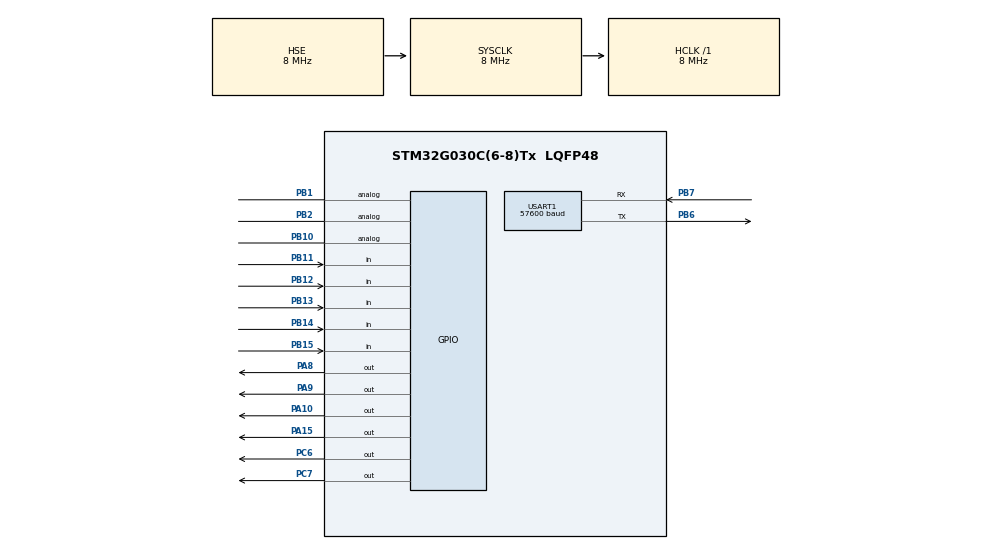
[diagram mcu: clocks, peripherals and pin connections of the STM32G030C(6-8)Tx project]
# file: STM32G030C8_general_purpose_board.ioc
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IWDG.Prescaler=IWDG_PRESCALER_32
IWDG.Reload=999
Mcu.Family=STM32G0
Mcu.Name=STM32G030C(6-8)Tx
Mcu.Package=LQFP48
NVIC.USART1_IRQn=true\:0\:0\:false\:false\:true\:true\:true\:true
PA10.GPIO_PuPd=GPIO_PULLDOWN
PA10.Signal=GPIO_Output
PA13.Mode=Serial_Wire
PA13.Signal=SYS_SWDIO
PA14-BOOT0.Mode=Serial_Wire
PA14-BOOT0.Signal=SYS_SWCLK
PA15.Signal=GPIO_Output
PA8.GPIO_ModeDefaultOutputPP=GPIO_MODE_OUTPUT_PP
PA8.GPIO_PuPd=GPIO_PULLDOWN
PA8.Signal=GPIO_Output
PA9.GPIO_PuPd=GPIO_PULLDOWN
PA9.Signal=GPIO_Output
PB1.Signal=GPIO_Analog
PB10.Signal=GPIO_Analog
PB11.Signal=GPIO_Input
PB12.Signal=GPIO_Input
PB13.Signal=GPIO_Input
PB14.Signal=GPIO_Input
PB15.Signal=GPIO_Input
PB2.Signal=GPIO_Analog
PB6.Mode=Asynchronous
PB6.Signal=USART1_TX
PB7.GPIO_PuPd=GPIO_PULLUP
PB7.Mode=Asynchronous
PB7.Signal=USART1_RX
PC6.GPIO_PuPd=GPIO_PULLDOWN
PC6.Signal=GPIO_Output
PC7.GPIO_PuPd=GPIO_PULLDOWN
PC7.Signal=GPIO_Output
PF0-OSC_IN\ (PF0).Mode=HSE-External-Oscillator
PF0-OSC_IN\ (PF0).Signal=RCC_OSC_IN
PF1-OSC_OUT\ (PF1).Mode=HSE-External-Oscillator
PF1-OSC_OUT\ (PF1).Signal=RCC_OSC_OUT
ProjectManager.HeapSize=0x0
ProjectManager.StackSize=0x400
ProjectManager.TargetToolchain=STM32CubeIDE
RCC.ADCFreq_Value=8000000
RCC.AHBFreq_Value=8000000
RCC.CortexFreq_Value=8000000
RCC.EXTERNAL_CLOCK_VALUE=12288000
RCC.HCLKFreq_Value=8000000
RCC.HSE_VALUE=8000000
RCC.HSI_VALUE=16000000
RCC.LSE_VALUE=32768
RCC.PLLN=12
RCC.PLLSourceVirtual=RCC_PLLSOURCE_HSE
RCC.SYSCLKFreq_VALUE=8000000
RCC.SYSCLKSource=RCC_SYSCLKSOURCE_HSE
RCC.VCOOutputFreq_Value=96000000
TIM14.Prescaler=7
USART1.AutoBaudRateEnableParam=UART_ADVFEATURE_AUTOBAUDRATE_DISABLE
USART1.BaudRate=57600
USART1.VirtualMode-Asynchronous=VM_ASYNC
VP_IWDG_VS_IWDG.Mode=IWDG_Activate
VP_TIM14_VS_ClockSourceINT.Mode=Enable_Timer
board=custom

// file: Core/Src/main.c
/* USER CODE BEGIN Header */
/**
  ******************************************************************************
  * @file           : main.c
  * @brief          : Main program body
  ******************************************************************************
  * @attention
  *
  * Copyright (c) 2026 STMicroelectronics.
  * All rights reserved.
  *
  * This software is licensed under terms that can be found in the LICENSE file
  * in the root directory of this software component.
  * If no LICENSE file comes with this software, it is provided AS-IS.
  *
  ******************************************************************************
  */
/* USER CODE END Header */
#include "main.h"
#include "iwdg.h"
#include "tim.h"
#include "usart.h"
#include "gpio.h"

/* USER CODE BEGIN Includes */

#include "board_gpio.h"
#include "time_utils.h"
#include "soft_timer.h"
#include "inputs_monitor.h"
#include "main_sm.h"

/* USER CODE END Includes */

/* USER CODE BEGIN PD */
#define STATUS_LED_ON_PERIOD_MS     (75)
#define STATUS_LED_OFF_PERIOD_MS    (3000)
/* USER CODE END PD */

void SystemClock_Config(void);
/* USER CODE BEGIN PFP */
static void status_led_blink(void);
void event_handler(event_type_t evt, void *ptr_data, int32_t int_data);
/* USER CODE END PFP */

int main(void)
{

  /* MCU Configuration--------------------------------------------------------*/

  /* Reset of all peripherals, Initializes the Flash interface and the Systick. */
  HAL_Init();

  /* Configure the system clock */
  SystemClock_Config();

  /* Initialize all configured peripherals */
  MX_GPIO_Init();
  MX_USART1_UART_Init();
  MX_IWDG_Init();
  MX_TIM14_Init();
  /* USER CODE BEGIN 2 */
  HAL_IWDG_Refresh(&hiwdg);

  board_gpio_write_do(DO0, false);
  board_gpio_write_do(DO1, false);
  board_gpio_write_do(DO2, false);
  board_gpio_write_do(DO3, false);
  board_gpio_write_do(DO4, false);
  board_gpio_write(STATUS_LED, false);

  time_utils_init();
  inputs_monitor_init();
  main_sm_init();
  /* USER CODE END 2 */

  /* Infinite loop */
  /* USER CODE BEGIN WHILE */
  while (1)
  {
    status_led_blink();

    soft_timer_check_timers();
    inputs_monitor_sm_run();
    event_sys_loop();
    main_sm_run(NO_EVENT_EVT, NULL, 0);
    /* USER CODE END WHILE */

    /* USER CODE BEGIN 3 */
    HAL_IWDG_Refresh(&hiwdg);
  }
  /* USER CODE END 3 */
}

void SystemClock_Config(void)
{
  RCC_OscInitTypeDef RCC_OscInitStruct = {0};
  RCC_ClkInitTypeDef RCC_ClkInitStruct = {0};

  /** Configure the main internal regulator output voltage
  */
  HAL_PWREx_ControlVoltageScaling(PWR_REGULATOR_VOLTAGE_SCALE1);

  /** Initializes the RCC Oscillators according to the specified parameters
  * in the RCC_OscInitTypeDef structure.
  */
  RCC_OscInitStruct.OscillatorType = RCC_OSCILLATORTYPE_LSI|RCC_OSCILLATORTYPE_HSE;
  RCC_OscInitStruct.HSEState = RCC_HSE_ON;
  RCC_OscInitStruct.LSIState = RCC_LSI_ON;
  RCC_OscInitStruct.PLL.PLLState = RCC_PLL_NONE;
  if (HAL_RCC_OscConfig(&RCC_OscInitStruct) != HAL_OK)
  {
    Error_Handler();
  }

  /** Initializes the CPU, AHB and APB buses clocks
  */
  RCC_ClkInitStruct.ClockType = RCC_CLOCKTYPE_HCLK|RCC_CLOCKTYPE_SYSCLK
                              |RCC_CLOCKTYPE_PCLK1;
  RCC_ClkInitStruct.SYSCLKSource = RCC_SYSCLKSOURCE_HSE;
  RCC_ClkInitStruct.AHBCLKDivider = RCC_SYSCLK_DIV1;
  RCC_ClkInitStruct.APB1CLKDivider = RCC_HCLK_DIV1;

  if (HAL_RCC_ClockConfig(&RCC_ClkInitStruct, FLASH_LATENCY_0) != HAL_OK)
  {
    Error_Handler();
  }
}

/* USER CODE BEGIN 4 */
// static void status_led_blink(void)
// {
// 	static uint32_t ti = 0;

// 	if ((t_get_ms() - ti) > STATUS_LED_TOGGLE_PERIOD_MS)
// 	{
// 		board_gpio_toggle(STATUS_LED);
// 		ti = t_get_ms();
// 	}
// }
static void status_led_blink(void)
{
  static uint8_t state = 0;
	static uint32_t ti_on = 0;
  static uint32_t ti_off = 0;

  switch (state)
  {
    case 0:
    {
      board_gpio_write(STATUS_LED, true);
      ti_on = t_get_ms();
      state = 1;
    }
    break;

    case 1:
    {
      if ((t_get_ms() - ti_on) > STATUS_LED_ON_PERIOD_MS)
      {
        board_gpio_write(STATUS_LED, false);
        ti_off = t_get_ms();
        state = 2;
      }
    }
    break;

    case 2:
    {
      if ((t_get_ms() - ti_off) > STATUS_LED_OFF_PERIOD_MS)
      {
        board_gpio_write(STATUS_LED, true);
        ti_on = t_get_ms();
        state = 1;
      }
    }
    break;

    default:
    break;
  }
}
/* USER CODE END 4 */

void Error_Handler(void)
{
  __disable_irq();
  while (1)
  {
  }
}
